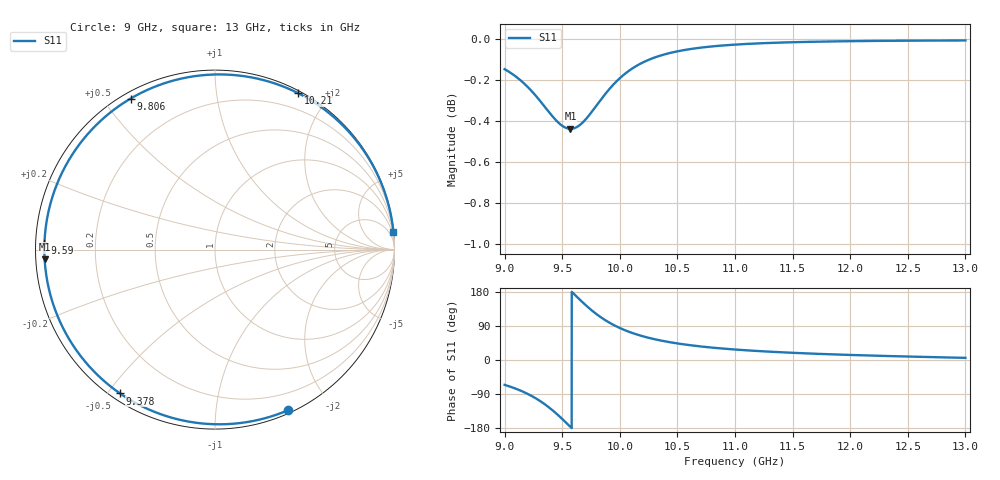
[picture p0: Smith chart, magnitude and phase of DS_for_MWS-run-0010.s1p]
! TOUCHSTONE file generated by CST DESIGN STUDIO
! Date and time: Tue Feb  4 13:56:59 2025
! Project name: C:\Work\MatlabApps\UnitCellOptimizationMatlab\CST\unitcell.cst
! Tree item: Tasks\Sweep1\SPara1\S-Parameters
! Header version: 2024
! Port assignment regex: !\s*Touchstone port\s*([0-9]+)\s*=\s*(CST MWS port|CST DES external port|CST DES block port)\s*(.+)\s* \(\"(.*)\"\)(\s*mode\s*([0-9]+))?.*
! Touchstone port assignment:
! Touchstone port 1 = CST DES external port 1 ("")
# GHz S MA R 50
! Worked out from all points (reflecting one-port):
!   4001 points, 9 GHz to 13 GHz, reference 50 ohm
!   lowest |S11| = -0.4 dB at 9.572 GHz (marker M1), VSWR 39.59, Z = 1.26 - j1.41 ohm
!   phase of S11 starts at -66 deg and turns -289 deg over the sweep
!   S11 on the Smith chart (normalised r, x): 9 GHz: 0.03, -1.55; 9.378 GHz: 0.03, -0.54; 9.59 GHz: 0.03, +0.02; 9.806 GHz: 0.02, +0.59; 10.21 GHz: 0.02, +1.67; 13 GHz: 0, +20
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9  0.983 -65.6
9.045  0.9813 -70.0
9.113  0.9782 -77.6
9.229  0.9714 -94.0
9.308  0.9657 -108.3
9.378  0.9602 -123.4
9.438  0.9558 -138.4
9.5  0.9523 -155.5
9.537  0.9511 -166.3
9.572  0.9507 -176.8
9.59  0.9508 177.8
9.645  0.9524 161.5
9.706  0.9559 144.2
9.756  0.9598 131.1
9.806  0.9639 119.2
9.849  0.9675 110.0
9.894  0.971 101.3
10  0.978 84.4
10.1  0.983 72.2
10.208  0.9869 61.9
10.342  0.9903 52.2
10.5  0.9929 43.7
10.721  0.995 35.1
11  0.9966 27.6
11.5  0.9979 19.0
12  0.9985 13.3
12.5  0.9988 9.1
13  0.9989 5.7
